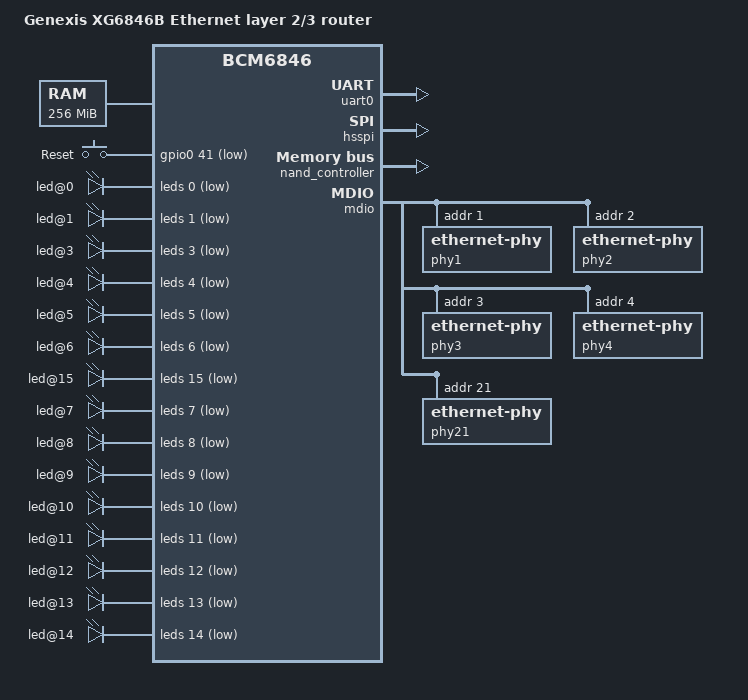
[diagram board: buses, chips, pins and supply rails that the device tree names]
// SPDX-License-Identifier: (GPL-2.0+ OR MIT)
/*
 * Copyright 2024 Linus Walleij <linus.walleij@linaro.org>
 */

/dts-v1/;

#include "bcm6846.dtsi"
#include <dt-bindings/gpio/gpio.h>
#include <dt-bindings/input/input.h>
#include <dt-bindings/leds/common.h>

/ {
	model = "Genexis XG6846B Ethernet layer 2/3 router";
	compatible = "genexis,xg6846b", "brcm,bcm6846", "brcm,bcmbca";

	aliases {
		serial0 = &uart0;
	};

	chosen {
		stdout-path = "serial0:115200n8";
	};

	/* Micron D9PTK 256 MB RAM */
	memory@0 {
		device_type = "memory";
		reg = <0x0 0x10000000>;
	};

	reserved-memory {
		#address-cells = <1>;
		#size-cells = <1>;
		ranges;

		secondary-boot@0 {
			no-map;
			reg = <0x00000000 0x00008000>;
		};
		pmc3-firmware@8000 {
			no-map;
			reg = <0x00008000 0x00100000>;
		};
	};

	gpio-keys {
		compatible = "gpio-keys-polled";
		poll-interval = <20000>;

		/* Called "canyon rescue button" in the vendor DTB */
		button-restart {
			label = "Reset";
			linux,code = <KEY_RESTART>;
			gpios = <&gpio0 41 GPIO_ACTIVE_LOW>;
		};
	};
};

&gpio0 {
	status = "okay";
};

&gpio1 {
	status = "okay";
};

&gpio2 {
	status = "okay";
	/* Totally 79 GPIOs are available */
	ngpios = <15>;
};

&uart0 {
	status = "okay";
};

&leds {
	status = "okay";
	brcm,serial-shift-bits = <16>;

	led@0 {
		reg = <0>;
		active-low;
		function = "ext";
		color = <LED_COLOR_ID_GREEN>;
	};

	led@1 {
		reg = <1>;
		active-low;
		function = "ext";
		color = <LED_COLOR_ID_AMBER>;
	};

	led@3 {
		reg = <3>;
		active-low;
		function = LED_FUNCTION_WAN;
		color = <LED_COLOR_ID_AMBER>;
	};

	led@4 {
		reg = <4>;
		active-low;
		function = LED_FUNCTION_WAN;
		color = <LED_COLOR_ID_GREEN>;
	};

	led@5 {
		reg = <5>;
		active-low;
		function = LED_FUNCTION_POWER;
		color = <LED_COLOR_ID_GREEN>;
	};

	led@6 {
		reg = <6>;
		active-low;
		function = LED_FUNCTION_POWER;
		color = <LED_COLOR_ID_RED>;
	};

	led@15 {
		reg = <15>;
		active-low;
		function = LED_FUNCTION_USB;
		color = <LED_COLOR_ID_GREEN>;
	};

	led@7 {
		/* Activity 03 */
		reg = <7>;
		active-low;
		function = "lan1";
		color = <LED_COLOR_ID_AMBER>;
	};

	led@8 {
		/* Activity 04 */
		reg = <8>;
		active-low;
		function = "lan1";
		color = <LED_COLOR_ID_GREEN>;
	};

	led@9 {
		/* Activity 03 */
		reg = <9>;
		active-low;
		function = "lan2";
		color = <LED_COLOR_ID_AMBER>;
	};

	led@10 {
		/* Activity 04 */
		reg = <10>;
		active-low;
		function = "lan2";
		color = <LED_COLOR_ID_GREEN>;
	};

	led@11 {
		/* Activity 03 */
		reg = <11>;
		active-low;
		function = "lan3";
		color = <LED_COLOR_ID_AMBER>;
	};

	led@12 {
		/* Activity 04 */
		reg = <12>;
		active-low;
		function = "lan3";
		color = <LED_COLOR_ID_GREEN>;
	};

	led@13 {
		/* Activity 03 */
		reg = <13>;
		active-low;
		function = "lan4";
		color = <LED_COLOR_ID_AMBER>;
	};

	led@14 {
		/* Activity 04 */
		reg = <14>;
		active-low;
		function = "lan4";
		color = <LED_COLOR_ID_GREEN>;
	};
};

&hsspi {
	status = "okay";
};

&nand_controller {
	brcm,wp-not-connected;
	status = "okay";
};

&nandcs {
	nand-on-flash-bbt;
	brcm,nand-ecc-use-strap;

	/* Winbond W29N02GV, 256MB with 128KB erase blocks */
	partitions {
		compatible = "fixed-partitions";
		#address-cells = <1>;
		#size-cells = <1>;

		loader@0 {
			label = "loader";
			reg = <0x00000000 0x00400000>;
		};
		image@400000 {
			label = "image";
			reg = <0x00400000 0x0fb00000>;
		};
		/* 0x00ff0000-0x00ffffff: bad block list */
	};
};

&mdio {
	status = "okay";

	phy1: ethernet-phy@1 {
		reg = <1>;
	};
	phy2: ethernet-phy@2 {
		reg = <2>;
	};
	phy3: ethernet-phy@3 {
		reg = <3>;
	};
	phy4: ethernet-phy@4 {
		reg = <4>;
	};
	phy21: ethernet-phy@21 {
		reg = <21>;
	};
};
